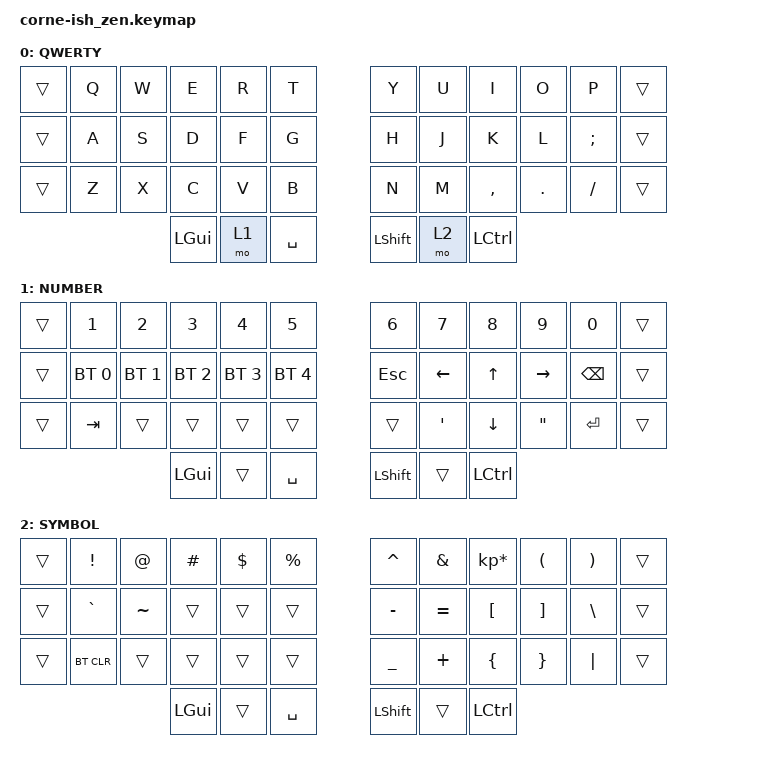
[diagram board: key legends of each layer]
/*
*
* Copyright (c) 2021 Darryl deHaan
* SPDX-License-Identifier: MIT
*
*/

#include <behaviors.dtsi>
#include <dt-bindings/zmk/keys.h>
#include <dt-bindings/zmk/bt.h>

/ {
        keymap {
                compatible = "zmk,keymap";

                default_layer {
                        label = "QWERTY";
// -----------------------------------------------------------------------------------------
// |   |  Q  |  W  |  E  |  R  |  T  |   |  Y  |  U   |  I  |  O  |  P  |     |
// |   |  A  |  S  |  D  |  F  |  G  |   |  H  |  J   |  K  |  L  |  ;  |     |
// |   |  Z  |  X  |  C  |  V  |  B  |   |  N  |  M   |  ,  |  .  |  /  |     |
//                 | GUI | LWR | SPC |   | SHFT| RSE  | CTRL|
                        bindings = <
  &trans &kp Q &kp W &kp E &kp R &kp T   &kp Y &kp U  &kp I     &kp O   &kp P    &trans
  &trans &kp A &kp S &kp D &kp F &kp G   &kp H &kp J  &kp K     &kp L   &kp SEMI &trans
  &trans &kp Z &kp X &kp C &kp V &kp B   &kp N &kp M  &kp COMMA &kp DOT &kp FSLH &trans
              &kp LGUI &mo 1 &kp SPACE   &kp LSHFT &mo 2 &kp LCTRL
                        >;
                };
                lower_layer {
                        label = "NUMBER";
// -----------------------------------------------------------------------------------------
// |    |  1  |  2  |  3  |  4  |  5  |   |  6  |  7  |  8  |  9  |  0  |     |
// |    | BT1 | BT2 | BT3 | BT4 | BT5 |   | ESC | LFT |  UP | RGT | BKSP|     |
// |    | TAB |     |     |     |     |   |     |  '  | DWN |  "  | ENT |     |
//                  | GUI |     | SPC |   | SHFT|     | CTRL|
                        bindings = <
   &trans     &kp N1       &kp N2       &kp N3       &kp N4       &kp N5         &kp N6     &kp N7   &kp N8    &kp N9     &kp N0   &trans
   &trans     &bt BT_SEL 0 &bt BT_SEL 1 &bt BT_SEL 2 &bt BT_SEL 3 &bt BT_SEL 4   &kp ESC    &kp LEFT &kp UP    &kp RIGHT  &kp BSPC &trans
   &trans     &kp TAB      &trans       &trans       &trans       &trans         &trans     &kp SQT  &kp DOWN  &kp DQT    &kp RET  &trans
                          	        &kp LGUI     &trans       &kp SPACE      &kp LSHFT  &trans   &kp LCTRL
                        >;
                };

                raise_layer {
                        label = "SYMBOL";
// -----------------------------------------------------------------------------------------
// |    |  !  |  @  |  #  |  $  |  %  |   |  ^  |  &  |  *  |  (  |  )  |   |
// |    |  `  |  ~  |     |     |     |   |  -  |  =  |  [  |  ]  |  \  |   |
// |    |BTCLR|     |     |     |     |   |  _  |  +  |  {  |  }  | "|" |   |
//                  | GUI |     | SPC |   | SHFT|     | CTRL|
                        bindings = <
  &trans  &kp EXCL   &kp AT     &kp HASH &kp DLLR &kp PRCNT   &kp CARET &kp AMPS  &kp KP_MULTIPLY &kp LPAR &kp RPAR &trans
  &trans  &kp GRAVE  &kp TILDE  &trans   &trans   &trans      &kp MINUS &kp EQUAL &kp LBKT        &kp RBKT &kp BSLH &trans
  &trans  &bt BT_CLR &trans     &trans   &trans   &trans      &kp UNDER &kp PLUS  &kp LBRC        &kp RBRC &kp PIPE &trans
                    	        &kp LGUI &trans   &kp SPACE   &kp LSHFT   &trans    &kp LCTRL
                        >;
                };
        };
};
